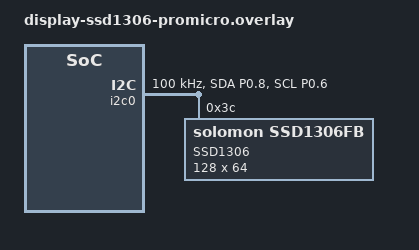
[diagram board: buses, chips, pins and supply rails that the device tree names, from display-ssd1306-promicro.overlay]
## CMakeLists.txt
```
#
# Copyright (c) 2020 Nordic Semiconductor ASA
#
# SPDX-License-Identifier: LicenseRef-Nordic-5-Clause
#

cmake_minimum_required(VERSION 3.20.0)

find_package(Zephyr REQUIRED HINTS $ENV{ZEPHYR_BASE})

project(coap_loki)

FILE(GLOB app_sources src/*.c src/displays/*.c src/motors/.c)
FILE(GLOB motor_sources drivers/motor/*.c)



# NORDIC SDK APP START
target_sources(app PRIVATE ${app_sources})

target_include_directories(app PRIVATE interface interface/generated include src/motors)
# NORDIC SDK APP END

target_sources(app PRIVATE ${motor_sources})

target_include_directories(app PRIVATE 
    drivers/motor
)

# -------- Firmware version (MANUAL) --------
set(APP_VERSION_MAJOR 1)
set(APP_VERSION_MINOR 4)
set(APP_VERSION_PATCH 2)

# -------- Build number (AUTO) --------
string(TIMESTAMP APP_BUILD_NUMBER "%Y%m%d%H%M%S" UTC)

configure_file(
  ${CMAKE_CURRENT_SOURCE_DIR}/app_version.h.in
  ${CMAKE_CURRENT_BINARY_DIR}/app_version.h
  @ONLY
)

target_include_directories(app PRIVATE ${CMAKE_CURRENT_BINARY_DIR})

# -------- Interface descriptor codegen --------
# Regenerates interface/generated/loki_{gatt,coap}.h from the YAML sources at
# every full build. If Python 3.8+ is missing the regeneration is skipped with
# a warning; the checked-in generated headers are then used as-is. The script
# itself also skips (warn + exit 0) if PyYAML is unavailable.
find_package(Python3 3.8 COMPONENTS Interpreter QUIET)

set(LOKI_GEN_SCRIPT   ${CMAKE_CURRENT_SOURCE_DIR}/tools/gen_descriptors.py)
set(LOKI_GEN_GATT     ${CMAKE_CURRENT_SOURCE_DIR}/interface/gatt.yaml)
set(LOKI_GEN_COAP     ${CMAKE_CURRENT_SOURCE_DIR}/interface/coap.yaml)
set(LOKI_GEN_OUT_DIR  ${CMAKE_CURRENT_SOURCE_DIR}/interface/generated)
set(LOKI_GEN_OUTPUTS
    ${LOKI_GEN_OUT_DIR}/loki_gatt.h
    ${LOKI_GEN_OUT_DIR}/loki_coap.h
)

if(Python3_Interpreter_FOUND)
    add_custom_command(
        OUTPUT  ${LOKI_GEN_OUTPUTS}
        COMMAND ${Python3_EXECUTABLE} ${LOKI_GEN_SCRIPT}
                --gatt    ${LOKI_GEN_GATT}
                --coap    ${LOKI_GEN_COAP}
                --out-dir ${LOKI_GEN_OUT_DIR}
        DEPENDS ${LOKI_GEN_SCRIPT} ${LOKI_GEN_GATT} ${LOKI_GEN_COAP}
        COMMENT "Regenerating Loki interface descriptors from YAML"
        VERBATIM
    )
    add_custom_target(loki_gen_descriptors ALL DEPENDS ${LOKI_GEN_OUTPUTS})
    add_dependencies(app loki_gen_descriptors)
else()
    message(WARNING
        "Python 3.8+ not found. Loki interface descriptor regeneration is "
        "disabled; the checked-in headers under interface/generated/ will be "
        "used as-is. Install Python 3.8+ and PyYAML to enable codegen.")
endif()
```

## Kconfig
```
#
# Copyright (c) 2020 Nordic Semiconductor ASA
#
# SPDX-License-Identifier: LicenseRef-Nordic-5-Clause
#

menu "Zephyr Kernel"
source "Kconfig.zephyr"
endmenu

menu "Motor Driver Support"
rsource "drivers/motor/Kconfig"
endmenu


module = COAP_SERVER
module-str = CoAP server
source "${ZEPHYR_BASE}/subsys/logging/Kconfig.template.log_config"

module = OT_COAP_UTILS
module-str = OpenThread CoAP utils
source "${ZEPHYR_BASE}/subsys/logging/Kconfig.template.log_config"

module = DISPLAY_LVGL
module-str = Display LVGL and others
source "${ZEPHYR_BASE}/subsys/logging/Kconfig.template.log_config"

config LOKI_MOTOR1PIN
	int "Pin for Motor controller IN1."
	default 13
	range 0 31

config LOKI_MOTOR2PIN
	int "Pin for Motor controller IN2."
	default 15
	range 0 31

config LOKI_MOTOR0PIN
	int "Spare pin for Motor controller."
	default 14
	range 0 31

config LVGL_DISPLAY_UPDATE_PERIOD_MS
	int "Display update period in milliseconds"
	default 0
	range 0 10000
	help
	  This option sets the period for updating the display in milliseconds.
	  A lower value will result in more frequent updates, while a higher value
	  will reduce the update frequency.

menu "Loki settings storage"

config LOKI_CLEAR_SETTINGS_NEW_VERSION
	bool "Wipe NVS settings when firmware MAJOR.MINOR changes"
	default y
	help
	  When enabled, init_and_optionally_clear_nvs() calls nvs_clear() on
	  the chosen `zephyr,storage` partition if the firmware's MAJOR.MINOR
	  SemVer differs from the value stored in flash. This deletes every
	  record in that partition, including BLE bonds, Thread network data,
	  and the loki/* keys — i.e. it is a factory reset gated on
	  version bumps.

	  Useful while the settings schema is in flux during development.
	  Turn off once the schema is stable so that user-set names, DCC
	  addresses, and joined Thread networks survive firmware upgrades.

config LOKI_CLEAR_SETTINGS_NEW_BUILD
	bool "Wipe NVS settings on every new build number"
	default n
	help
	  Wipes the settings partition whenever APP_BUILD_NUMBER (an embedded
	  build timestamp) differs from the value stored in flash. Effectively
	  a factory reset on every flash. Convenient during heavy iteration;
	  rarely what you want in a shipped firmware.

endmenu

menu "BLE advertising lifecycle"

config LOKI_BLE_OFF_AFTER_ATTACH_MINUTES
	int "Minutes to keep BLE advertising after a successful Thread attach"
	default 5
	range 0 1440
	help
	  After the loco successfully attaches to a Thread network (role becomes
	  CHILD, ROUTER or LEADER), BLE advertising is stopped after this many
	  minutes. If the Thread role goes back to DETACHED/DISABLED before then,
	  the pending stop is cancelled and advertising continues. Set to 0 to
	  disable the feature entirely (BLE advertising stays on indefinitely).
	  A CoAP PUT to /ble-recovery resumes advertising for another window of
	  the same length.

config LOKI_BLE_RECOVERY_ON_SRP_FAIL
	bool "Reopen BLE window automatically when SRP registration fails"
	default y
	help
	  When enabled, every site that detects an SRP/DNS-SD registration
	  failure — host-name set, auto-host-address mode, or any individual
	  service allocation (short-name, long-name, DCC) — calls
	  ble_lifecycle_force_recovery() to reopen the advertising window for
	  CONFIG_LOKI_BLE_OFF_AFTER_ATTACH_MINUTES. The loco then stays
	  reachable over GATT even while DNS-SD discovery is broken.

	  Turn off to treat SRP outages silently and rely on the natural Thread
	  detach path or the manual /ble-recovery CoAP endpoint to reopen BLE
	  on demand. The /ble-recovery endpoint itself is NOT gated by this
	  option — it always works regardless.

endmenu
```

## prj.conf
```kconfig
#
# Copyright (c) 2020 Nordic Semiconductor
#
# SPDX-License-Identifier: LicenseRef-Nordic-5-Clause
#

# nRF board library
CONFIG_DK_LIBRARY=y

# Enable OpenThread CoAP support API
CONFIG_OPENTHREAD_COAP=y

# Network shell
CONFIG_SHELL=y
CONFIG_OPENTHREAD_SHELL=y
CONFIG_SHELL_ARGC_MAX=26
CONFIG_SHELL_CMD_BUFF_SIZE=416
CONFIG_MAIN_STACK_SIZE=8192

# Network sockets
CONFIG_NET_SOCKETS=y
CONFIG_NET_SOCKETS_POLL_MAX=4

# Same network Master Key for client and server
# CONFIG_OPENTHREAD_NETWORKKEY="ff:11:22:33:44:55:66:77:88:99:aa:bb:cc:dd:ee:00"

# CONFIG_HWINFO=y
CONFIG_HWINFO_NRF=y

# L2 OpenThread enabling
CONFIG_NET_L2_OPENTHREAD=y
CONFIG_OPENTHREAD_COAP=y
CONFIG_OPENTHREAD_SOURCES=n
CONFIG_OPENTHREAD_CUSTOM_PARAMETERS="OPENTHREAD_CONFIG_ALLOW_EMPTY_NETWORK_NAME=1  OPENTHREAD_CONFIG_SRP_CLIENT_BUFFERS_MAX_SERVICES=4"

CONFIG_SYSTEM_WORKQUEUE_STACK_SIZE=2048
# ot_radio_workq
#CONFIG_OPENTHREAD_RADIO_WORK_STACK_SIZE=1024
# MPSL Work Queue
CONFIG_MPSL_WORK_STACK_SIZE=4096

CONFIG_MPSL_DYNAMIC_INTERRUPTS=y
# CONFIG_ESB_DYNAMIC_INTERRUPTS=y
CONFIG_DYNAMIC_INTERRUPTS=y
CONFIG_DYNAMIC_DIRECT_INTERRUPTS=y


# Generic networking options
CONFIG_NETWORKING=y

CONFIG_MBEDTLS_SHA1_C=n
CONFIG_FPU=y

CONFIG_PWM=y

CONFIG_DC_MOTOR=y
```

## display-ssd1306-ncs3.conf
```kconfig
# Configure LVGL and display settings for the nRF52840 with SSD1306 display
# Route LVGL allocations through the libc heap instead of a dedicated static pool.
# When no display is detected at boot, lvgl_init() bails out before lv_init() and
# no allocations are made, leaving the memory free for other code.
CONFIG_LV_Z_MEM_POOL_HEAP_LIB_C=y
CONFIG_LV_Z_SHELL=y

CONFIG_I2C=y
CONFIG_I2C_NRFX=y
CONFIG_LOG=y

CONFIG_DISPLAY=y
CONFIG_DISPLAY_LOG_LEVEL_ERR=y

CONFIG_SSD1306=y
CONFIG_LVGL=y

CONFIG_LV_CONF_MINIMAL=y
CONFIG_LV_USE_LOG=y
CONFIG_LV_USE_LABEL=y


CONFIG_LV_FONT_MONTSERRAT_14=y

CONFIG_LV_Z_BITS_PER_PIXEL=1
CONFIG_APP_LINK_WITH_LVGL=y

CONFIG_LOG=y
CONFIG_SHELL=y

CONFIG_LVGL=y
CONFIG_LV_USE_LOG=y
CONFIG_LV_USE_LABEL=y                                                                                                                                                                                         
CONFIG_LV_USE_ARC=y
CONFIG_LV_USE_MONKEY=y
CONFIG_LV_FONT_MONTSERRAT_14=y
CONFIG_LV_FONT_UNSCII_8=y

# One of these three is crucial for the display to work
CONFIG_LV_USE_THEME_DEFAULT=y
CONFIG_LV_Z_VDB_SIZE=64
# monochrome display
CONFIG_LV_COLOR_DEPTH_1=y


# Drives lv_task_handler() from the dedicated animate_ip_scroll thread
# (see src/displays/1306_display.c). Must be > 0 — value 0 selects a
# sysworkq-based path that overflows the 2 KB system workqueue stack.
CONFIG_LVGL_DISPLAY_UPDATE_PERIOD_MS=10

CONFIG_I2C_SHELL=ymm 
```

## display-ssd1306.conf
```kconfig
# Configure LVGL and display settings for the nRF52840 with SSD1306 display
# Route LVGL allocations through the libc heap instead of a dedicated static pool.
# When no display is detected at boot, lvgl_init() bails out before lv_init() and
# no allocations are made, leaving the memory free for other code.
CONFIG_LV_Z_MEM_POOL_HEAP_LIB_C=y


CONFIG_I2C=y
CONFIG_I2C_NRFX=y
CONFIG_LOG=y

CONFIG_DISPLAY=y
CONFIG_DISPLAY_LOG_LEVEL_ERR=y

CONFIG_SSD1306=y
CONFIG_LVGL=y

CONFIG_LV_CONF_MINIMAL=y
CONFIG_LV_USE_LOG=y
CONFIG_LV_USE_LABEL=y
CONFIG_LV_USE_BTN=y
CONFIG_LV_USE_IMG=y
CONFIG_LV_FONT_MONTSERRAT_14=y

CONFIG_LV_Z_BITS_PER_PIXEL=1
CONFIG_APP_LINK_WITH_LVGL=y

CONFIG_LOG=y
CONFIG_SHELL=n
CONFIG_LV_Z_SHELL=n
CONFIG_I2C_SHELL=n

CONFIG_LVGL=y
CONFIG_LV_USE_LOG=y
CONFIG_LV_USE_LABEL=y                                                                                                                                                                                         
CONFIG_LV_USE_BTN=y
CONFIG_LV_USE_ARC=y
CONFIG_LV_USE_IMG=y
CONFIG_LV_USE_MONKEY=y
CONFIG_LV_FONT_MONTSERRAT_14=y
CONFIG_LV_FONT_UNSCII_8=y

# One of these three is crucial for t he display to work
CONFIG_LV_USE_THEME_DEFAULT=y
CONFIG_LV_Z_VDB_SIZE=64
# monochrome display
CONFIG_LV_COLOR_DEPTH_1=y


# Drives lv_task_handler() from the dedicated animate_ip_scroll thread
# (see src/displays/1306_display.c). Must be > 0 — value 0 selects a
# sysworkq-based path that overflows the 2 KB system workqueue stack.
CONFIG_LVGL_DISPLAY_UPDATE_PERIOD_MS=10
```

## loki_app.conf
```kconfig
# makes no sense if UART is desibled
# CONFIG_UART_INTERRUPT_DRIVEN=y
CONFIG_RING_BUFFER=y
CONFIG_PWM=y

# Motor driver used by DT alias motor0 (/motor_driver)
CONFIG_DC_MOTOR=y


# Increased stack due to settings API usage
CONFIG_SYSTEM_WORKQUEUE_STACK_SIZE=2048
# from mesh sample
CONFIG_BT_SETTINGS=y

CONFIG_BT=y
CONFIG_LOG=y
CONFIG_BT_SMP=y
# deprecated
# CONFIG_BT_SIGNING=y

CONFIG_BT_PERIPHERAL=y

# Device Information Service (0x180A). The strings below are what generic BLE
# debuggers (nRF Connect, BlueZ, LightBlue) render above the custom
# fcbd0001-… service, so a human reading the device card immediately knows
# what they're looking at even though the custom service UUID itself is
# opaque to any tool without a local UUID mapping.
#
# CONFIG_BT_DIS_SETTINGS lets the application override the static strings at
# boot via settings_runtime_set("bt/dis/<key>", str, strlen(str)) — that's
# what main.c does for FW/SW revisions, sourcing them from APP_VERSION_* so
# the value shown in a debugger tracks the actual firmware build.
#
# Note: this NCS (3.2.x) has no CONFIG_BT_DIS_STR_USER. CONFIG_BT_DIS_SETTINGS
# is the equivalent — same outcome (runtime-mutable DIS strings), different
# mechanism (Zephyr settings subsystem rather than a dedicated bt_dis_set_str
# API). It depends on CONFIG_SETTINGS=y which is already enabled above.
CONFIG_BT_DIS=y
CONFIG_BT_DIS_SETTINGS=y
CONFIG_BT_DIS_MANUF_NAME=y
CONFIG_BT_DIS_MANUF_NAME_STR="Loki"
CONFIG_BT_DIS_MODEL_NUMBER=y
CONFIG_BT_DIS_MODEL_NUMBER_STR="Locomotive Control"
CONFIG_BT_DIS_FW_REV=y
CONFIG_BT_DIS_FW_REV_STR="dev"           # overwritten at boot from APP_VERSION
CONFIG_BT_DIS_SW_REV=y
CONFIG_BT_DIS_SW_REV_STR="dev"           # overwritten at boot from APP_VERSION
# CONFIG_BT_DIS_HW_REV / _STR intentionally not set — the firmware targets
# multiple boards (52dk, custom, dongle, promicro) so HW revision should
# come from a board-specific overlay if it matters.

CONFIG_BT_ATT_PREPARE_COUNT=5
CONFIG_BT_BAS=y
# from samples/bluetooth/peripheral/
CONFIG_BT_PRIVACY=y
CONFIG_BT_DEVICE_NAME="Zephyr Peripheral Sample Long Name"
# Experimental: (and therefore throws KConfig Warnings and stops build)
# CONFIG_BT_IAS=y
#CONFIG_BT_DEVICE_APPEARANCE=833
CONFIG_BT_DEVICE_NAME_DYNAMIC=y
CONFIG_BT_DEVICE_NAME_MAX=65
CONFIG_BT_SETTINGS=y
CONFIG_BT_RX_STACK_SIZE=4096
CONFIG_BT_EXT_ADV=n
CONFIG_BT_GATT_SERVICE_CHANGED=y

CONFIG_SETTINGS=y
CONFIG_SETTINGS_RUNTIME=y

CONFIG_DEBUG_OPTIMIZATIONS=y 
CONFIG_BT_KEYS_OVERWRITE_OLDEST=y
CONFIG_FLASH=y
CONFIG_FLASH_PAGE_LAYOUT=y
CONFIG_FLASH_MAP=y
CONFIG_NVS=y

# If MCU hangs on startup in settings_load. Claude recommends:
# CONFIG_FLASH_LOG_LEVEL_DBG=y

# Wipe-on-version-change is enabled by default in Kconfig
# (CONFIG_LOKI_CLEAR_SETTINGS_NEW_VERSION=y). Uncomment below to wipe on
# every new build number too (CONFIG_LOKI_CLEAR_SETTINGS_NEW_BUILD=n by
# default) or to disable the version-change wipe once the settings schema
# is stable.
# CONFIG_LOKI_CLEAR_SETTINGS_NEW_BUILD=y
# CONFIG_LOKI_CLEAR_SETTINGS_NEW_VERSION=n

CONFIG_PINCTRL_DYNAMIC=y
CONFIG_PINCTRL_NRF=y

CONFIG_GPIO=y

# Newlib was previously forced on solely to provide sscanf("%d", …) in the CoAP
# speed handler — that cost ~36 KB of flash for one decimal parse. The handler
# now uses strtoul (minimal-libc / picolibc) and every sprintf has been swapped
# for snprintk / strcpy, so the default Zephyr libc is sufficient.
# CONFIG_NEWLIB_LIBC=y
# CONFIG_NEWLIB_LIBC_NANO=n

CONFIG_LOKI_MOTOR1PIN=9

# To be able to read the same address as on the sticker on the back of the board
CONFIG_HW_ID_LIBRARY=y
CONFIG_HW_ID_LIBRARY_SOURCE_BLE_MAC=y

CONFIG_OPENTHREAD_SRP_CLIENT=y


CONFIG_OPENTHREAD_JOINER=y
CONFIG_OPENTHREAD_SLAAC=y
CONFIG_CPP=y
```

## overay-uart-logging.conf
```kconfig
# Serial console on UART
CONFIG_SERIAL=y
CONFIG_CONSOLE=y
CONFIG_UART_CONSOLE=y

# Zephyr logging
CONFIG_LOG=y
```

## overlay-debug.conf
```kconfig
# Enable asserts
CONFIG_ASSERT=y
CONFIG_ASSERT_NO_COND_INFO=y
CONFIG_INIT_STACKS=y
CONFIG_THREAD_ANALYZER=y
CONFIG_THREAD_ANALYZER_AUTO=y
CONFIG_THREAD_NAME=y
CONFIG_THREAD_ANALYZER_USE_LOG=y
CONFIG_THREAD_ANALYZER_AUTO_INTERVAL=5
#include "<openthread-root>/src/config/misc.h"
CONFIG_CORTEX_M_DEBUG_MONITOR_HOOK=y

# Network shell - disabled to help with space constraints
CONFIG_SHELL=y
CONFIG_OPENTHREAD_SHELL=y
CONFIG_SHELL_ARGC_MAX=26
CONFIG_SHELL_CMD_BUFF_SIZE=416
CONFIG_MAIN_STACK_SIZE=8192

# Extra info for debugging stack overflows and other exceptions
CONFIG_EXCEPTION_STACK_TRACE=y
CONFIG_DEBUG_THREAD_INFO=y
CONFIG_EXTRA_EXCEPTION_INFO=y
```

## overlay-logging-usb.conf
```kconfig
#
# Copyright (c) 2022 Nordic Semiconductor
#
# SPDX-License-Identifier: LicenseRef-Nordic-5-Clause

# Enable net module logging
# CONFIG_NET_LOG=y
# Option for configuring log level in net config library
# CONFIG_NET_CONFIG_LOG_LEVEL_INF=y

# Option for configuring log level in Zephyr L2 logging
# CONFIG_OPENTHREAD_L2_DEBUG=y
# CONFIG_OPENTHREAD_L2_LOG_LEVEL_DBG=y
# CONFIG_OPENTHREAD_L2_DEBUG_DUMP_15_4=y
# CONFIG_OPENTHREAD_L2_DEBUG_DUMP_IPV6=y

# Configure sample logging setting
CONFIG_LOG=y
CONFIG_LOG_PRINTK=y
CONFIG_COAP_SERVER_LOG_LEVEL_DBG=y
CONFIG_OT_COAP_UTILS_LOG_LEVEL_DBG=y
CONFIG_OPENTHREAD_DEBUG=y
CONFIG_OPENTHREAD_L2_DEBUG=y

CONFIG_DISPLAY_LVGL_LOG_LEVEL_DBG=y

# Enable Mbed TLS logging
# CONFIG_OPENTHREAD_MBEDTLS_DEBUG=y
# CONFIG_MBEDTLS_DEBUG_LEVEL=3

# Option for configuring log level in OpenThread
CONFIG_OPENTHREAD_LOG_LEVEL_DEBG=n

CONFIG_MPSL_LOG_LEVEL_DBG=y

# Enable UART over USB logging backend
# Logging
CONFIG_LOG=y
CONFIG_LOG_DEFAULT_LEVEL=3

# # LEgacy USB
# CONFIG_USB_DEVICE_STACK=y
# CONFIG_USB_DEVICE_PRODUCT="nRF52840 CDC ACM"
# CONFIG_USB_CDC_ACM=y

# # Console over USB
# CONFIG_SERIAL=y
# CONFIG_CONSOLE=y
# CONFIG_UART_CONSOLE=y  

# NEXT_USB , apparently default in v3.2 
CONFIG_SERIAL=y
CONFIG_CONSOLE=y
CONFIG_UART_CONSOLE=y
CONFIG_STDOUT_CONSOLE=y
CONFIG_UART_LINE_CTRL=y

CONFIG_USB_DEVICE_STACK_NEXT=y
CONFIG_CDC_ACM_SERIAL_INITIALIZE_AT_BOOT=y
# NCS urges me to set another PID here than the default Nordic one 
CONFIG_CDC_ACM_SERIAL_PID=0x0004
CONFIG_CDC_ACM_SERIAL_PRODUCT_STRING="USBD console sample"


# Logging backend
CONFIG_LOG_BACKEND_UART=y

# Recommended
CONFIG_LOG_MODE_DEFERRED=y
CONFIG_LOG_BUFFER_SIZE=4096

# Optional but useful
CONFIG_PRINTK=y

# Enable UART logging backend
CONFIG_LOG_BACKEND_UART=y
CONFIG_SHELL_LOG_BACKEND=y
```

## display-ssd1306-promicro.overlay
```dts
/ {
    chosen {
        zephyr,display = &ssd1306;
     
    };


    zephyr,user {

    };
};



&pinctrl {
	i2c0_default: i2c0_default {
		group1 {
			psels = <NRF_PSEL(TWIM_SDA, 0, 8)>,
				<NRF_PSEL(TWIM_SCL, 0, 6)>;
            bias-pull-up;
		};
	};

	i2c0_sleep: i2c0_sleep {
		group1 {
			psels = <NRF_PSEL(TWIM_SDA, 0, 8)>,
				<NRF_PSEL(TWIM_SCL, 0, 6)>;
            bias-pull-up;
			low-power-enable;
		};
	};
};

&uart0 {
    status = "disabled";
};

&i2c0 {
	compatible = "nordic,nrf-twim";
	status = "okay";
	clock-frequency = <I2C_BITRATE_STANDARD>;
	pinctrl-0 = <&i2c0_default>;
	pinctrl-1 = <&i2c0_sleep>;
	pinctrl-names = "default", "sleep";

    ssd1306: ssd1306@3c {
        compatible = "solomon,ssd1306fb";
        reg = <0x3c>;
        label = "SSD1306";
        height = <64>; // Change to <64> for 64-pixel height displays
        width  = <128>;
        segment-offset  = <0>;
        page-offset     = <0>;
        display-offset  = <0>;
        multiplex-ratio = <63>;
        prechargep      = <0xD1>;
        segment-remap;
        com-invdir;
        com-sequential;

    };
};
&uart0 {
	status = "disabled";
};
```

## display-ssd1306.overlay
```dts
/ {
    chosen {
        zephyr,display = &ssd1306;
    };


    zephyr,user {

    };
};

&pinctrl {
	i2c0_default: i2c0_default {
		group1 {
			psels = <NRF_PSEL(TWIM_SDA, 0, 8)>,
				<NRF_PSEL(TWIM_SCL, 0, 6)>;
		};
	};

	i2c0_sleep: i2c0_sleep {
		group1 {
			psels = <NRF_PSEL(TWIM_SDA, 0, 8)>,
				<NRF_PSEL(TWIM_SCL, 0, 6)>;
			low-power-enable;
		};
	};
};

&uart0 { status = "disabled"; };

&i2c0 {
    
	compatible = "nordic,nrf-twi";
	status = "okay";
	clock-frequency = <I2C_BITRATE_FAST>;
	pinctrl-0 = <&i2c0_default>;
	pinctrl-1 = <&i2c0_sleep>;
	pinctrl-names = "default", "sleep";

    ssd1306: ssd1306@3c {
        compatible = "solomon,ssd1306fb";
        reg = <0x3c>;
        label = "SSD1306";
        height = <64>;
        width  = <128>;
        segment-offset  = <0>;
        page-offset     = <0>;
        display-offset  = <0>;
        multiplex-ratio = <63>;
        prechargep      = <0xD1>;
        segment-remap;
        com-invdir;
        com-sequential;

    };
};
```

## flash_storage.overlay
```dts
/*
 * Point Zephyr's chosen `zephyr,storage` at the standard NCS settings
 * partition (`storage_partition` in DT — the NCS Partition Manager knows
 * the same physical partition as `settings_storage`). The manual NVS
 * instance in init_and_optionally_clear_nvs() and the Zephyr settings
 * backend (CONFIG_SETTINGS_NVS) then share the same partition, which is
 * the intent: a CONFIG_LOKI_CLEAR_SETTINGS_NEW_VERSION wipe nukes
 * everything (BLE bonds, Thread network data, loki/* keys) in one go.
 *
 * Previously this overlay defined a separate `nvs_storage: partition@f0000`
 * node, but PM never learned that name so FIXED_PARTITION_ID() could not
 * resolve it.
 */

/ {
    chosen {
        zephyr,storage = &storage_partition;
        zephyr,flash   = &flash0;
    };
};
```

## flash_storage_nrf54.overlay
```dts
/ {
    chosen {
        zephyr,storage = &storage_partition;
    };
};
```

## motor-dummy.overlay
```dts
/ {
    aliases {
        motor0 = &motor_null; /* Same alias! App code doesn't change. */
    };

    motor_null: motor_driver_alt {
        /* This selects Driver B implementation */
        compatible = "generic,dummy-motor";
        
        /* Different resource types entirely */

    };
};
```

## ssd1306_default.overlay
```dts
/ {
    chosen {
        zephyr,display = &ssd1306;
    };
};

&pinctrl {
    i2c0_default: i2c0_default {
        group1 {
            psels = <NRF_PSEL(TWIM_SDA, 0, 26)>,
                    <NRF_PSEL(TWIM_SCL, 0, 27)>;
            bias-pull-up;
        };
    };

    i2c0_sleep: i2c0_sleep {
        group1 {
            psels = <NRF_PSEL(TWIM_SDA, 0, 26)>,
                    <NRF_PSEL(TWIM_SCL, 0, 27)>;
            bias-pull-up;
            low-power-enable;
        };
    };
};

&i2c0 {
    status = "okay";
    clock-frequency = <I2C_BITRATE_STANDARD>;
    pinctrl-0 = <&i2c0_default>;
    pinctrl-1 = <&i2c0_sleep>;
    pinctrl-names = "default", "sleep";

    ssd1306: ssd1306@3c {
        compatible = "solomon,ssd1306fb";
        reg = <0x3c>;
        width = <128>;
        height = <64>;
        segment-offset = <0>;
        page-offset = <0>;
        display-offset = <0>;
        multiplex-ratio = <63>;
        prechargep = <0x22>;
        segment-remap;
        com-invdir;
        com-sequential;
        ready-time-ms = <20>;
    };
};
```

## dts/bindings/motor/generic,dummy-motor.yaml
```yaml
description: Dummy Motor Driver (No-op)
compatible: "generic,dummy-motor"
include: base.yaml
```

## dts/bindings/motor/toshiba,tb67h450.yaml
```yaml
description: Toshiba TB67H450 Motor Driver
compatible: "toshiba,tb67h450"
include: base.yaml

properties:
    pwms:
        required: true
        type: phandle-array
        description: Two PWM channels (IN1, IN2)
```

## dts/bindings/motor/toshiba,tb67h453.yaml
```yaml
description: Toshiba TB67H453 Motor Driver
compatible: "toshiba,tb67h453"
include: base.yaml

properties:
    pwms:
        required: true
        type: phandle-array
        description: Two PWM channels (IN1, IN2)
    sleep-gpios:
        required: true
        type: phandle-array
        description: Pin connected to SLEEP (Active High)
```

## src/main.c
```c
/* main.c - Application main entry point */

/*
 * Copyright (c) 2015-2016 Intel Corporation
 *
 * SPDX-License-Identifier: Apache-2.0
 */

#include <zephyr/types.h>
#include <zephyr/toolchain.h>
#include <stddef.h>
#include <string.h>
#include <errno.h>
/* #include <sys/printk.h> 
#include <sys/byteorder.h> */
#include <zephyr/kernel.h>
#include <zephyr/device.h>
#include <zephyr/devicetree.h>
#include <zephyr/drivers/gpio.h>
#include <zephyr/sys/byteorder.h>
#include <zephyr/logging/log.h>

#include <zephyr/bluetooth/bluetooth.h>
#include <zephyr/bluetooth/hci.h>
#include <zephyr/bluetooth/conn.h>
#include <zephyr/bluetooth/uuid.h>
#include <zephyr/bluetooth/gatt.h>
#include <zephyr/bluetooth/services/bas.h>
#include <zephyr/settings/settings.h>
#include <hw_id.h>
#include <zephyr/drivers/hwinfo.h>
#include <openthread/coap.h>

#include <zephyr/drivers/pwm.h>
#include <stdio.h>
#include <stdlib.h>
#include <inttypes.h>

#include <zephyr/net/openthread.h>
#include <openthread.h>           /* openthread_mutex_lock/unlock (the non-deprecated, void-arg API) */
#include <openthread/thread.h>
#include <openthread/srp_client.h>
#include <openthread/srp_client_buffers.h>


#include "main_ble_utils.h"
#include "loki_coap_utils.h"
#include "main_ot_utils.h"
#include "main_loki.h"

#include "displays/main_display.h"

#include "motors/motor.h"
// BEGIN Settings and conditional NVM initialization related imports
#ifdef CONFIG_NVS
#include <zephyr/fs/nvs.h>
#elif defined(CONFIG_ZMS)
#include <zephyr/fs/zms.h>
#else
#error "Either CONFIG_NVS or CONFIG_ZMS must be enabled"
#endif
#include <zephyr/storage/flash_map.h>
#include <zephyr/kernel.h>
#include <zephyr/sys/util.h>
#include <zephyr/settings/settings.h>

#include "app_version.h"

/* The project's app_version.h (generated by Zephyr from the VERSION file)
 * only exposes the numeric components; synthesise a dotted "MAJOR.MINOR.PATCH"
 * string for code that needs one — currently the DIS Firmware/Software
 * Revision runtime override below. */
#define LOKI_VER_STR_(x)  #x
#define LOKI_VER_XSTR_(x) LOKI_VER_STR_(x)
#define LOKI_APP_VERSION_STRING                          \
    LOKI_VER_XSTR_(APP_VERSION_MAJOR) "."                \
    LOKI_VER_XSTR_(APP_VERSION_MINOR) "."                \
    LOKI_VER_XSTR_(APP_VERSION_PATCH)
// END Settings and NVM related imports

#if defined(CONFIG_LVGL) && defined(CONFIG_DISPLAY)
#include <zephyr/device.h>
#include <zephyr/devicetree.h>
#include <zephyr/drivers/display.h>
#include <zephyr/drivers/gpio.h>
#include <lvgl.h>
#include <stdio.h>
#include <string.h>
#include <zephyr/kernel.h>
#include <lvgl_input_device.h>
// Start Display related includes
#ifdef CONFIG_SSD1306
	//#include "displays/1306_display.c"
#endif


// End Display related includes
#endif

/*
 * Devicetree helper macro which gets the 'flags' cell from a 'gpios'
 * property, or returns 0 if the property has no 'flags' cell.
 */
#define FLAGS_OR_ZERO(node)						\
	COND_CODE_1(DT_PHA_HAS_CELL(node, gpios, flags),		\
		    (DT_GPIO_FLAGS(node, gpios)),			\
		    (0))




LOG_MODULE_REGISTER(loki_main, CONFIG_COAP_SERVER_LOG_LEVEL);

// BEGIN Settings and conditional NVM initialization related code. To be moved to separate file when stable
#define NVS_KEY_VERSION   0x10
#define NVS_KEY_BUILD     0x11

struct app_version {
    uint8_t major;
    uint8_t minor;
    uint8_t patch;
};

#ifdef CONFIG_NVS
/* Only referenced from init_and_optionally_clear_nvs(), which is itself
 * gated on LOKI_HAS_NVS_STORAGE (CONFIG_NVS + chosen zephyr,storage). On
 * builds without NVS this would be a -Wunused-function warning. */
static bool semver_major_minor_changed(const struct app_version *a,
                                       const struct app_version *b)
{
    return (a->major != b->major) || (a->minor != b->minor);
}
#endif

#ifdef CONFIG_NVS
static struct nvs_fs nvs;
#endif
// END SEttings and NVM

uint8_t speed_notify_enabled = 0;
bool is_display_enabled = false;

void notify_motion_change()
{
		// Notify if Notifications are enabled
	if (speed_notify_enabled) {
		LOG_DBG("Sending Speed Notifications to GATT Client\n");
		/* original demo code:
				bt_gatt_notify(NULL, &simple_service.attrs[1], &button_1_value,
			       sizeof(button_1_value));
		*/
		// TODO: evaluate ret value, print error , if any

		bt_notify_speed();
	}
	if (is_display_enabled) {
		char buffer[3];
		/* Bitwise tests on the direction bit-pattern: bit 0 = forward,
		 * bit 1 = reverse. Was previously '&&' (logical AND with a
		 * constant), making the reverse branch unreachable whenever
		 * direction_pattern was non-zero. */
		if (direction_pattern & 1) {
			strcpy(buffer, " >");
		} else if (direction_pattern & 2) {
			strcpy(buffer, "< ");
		} else
		 {
			strcpy(buffer, "--");
		}
		LOG_DBG("Sending Speed Notifications %s %d to Display\n",buffer, speed_value);
		display_updateDirectionAndSpeed(direction_pattern, speed_value);
	}

}


void stop_motor()
{
	change_speed_directly(0);
}

#if defined(CONFIG_NVS) && DT_HAS_CHOSEN(zephyr_storage)
#define LOKI_HAS_NVS_STORAGE 1
#define STORAGE_NODE DT_CHOSEN(zephyr_storage)

BUILD_ASSERT(
	DT_REG_SIZE(STORAGE_NODE) >= 0x4000,
	"zephyr,storage partition too small"
);
#else
#define LOKI_HAS_NVS_STORAGE 0
#endif

/* ---- NVS ---- */

int init_and_optionally_clear_nvs(void)
{
#if !LOKI_HAS_NVS_STORAGE
	LOG_WRN("NVS init skipped: missing CONFIG_NVS or chosen zephyr,storage");
	return 0;
#else
    const struct flash_area *fa;
    int err;

    struct app_version current_ver = {
        .major = APP_VERSION_MAJOR,
        .minor = APP_VERSION_MINOR,
        .patch = APP_VERSION_PATCH,
    };

    struct app_version stored_ver = {0};
	uint64_t stored_build = 0;
	uint64_t current_build = APP_BUILD_NUMBER;

    bool clear = false;

    /* Open NVS flash area. Address the partition by its PM name
     * (`settings_storage`) rather than via DT_CHOSEN — the NCS Partition
     * Manager redefines FIXED_PARTITION_ID() to do PM_##label##_ID and
     * does not pre-expand its argument, so a DT_CHOSEN node-id token
     * would produce an undefined symbol. PM defines PM_settings_storage_ID
     * for both the nRF52 and nRF54L builds. See TODO/05 or the discussion
     * in INTERFACES.md for the deciding-bit analysis. */
	err = flash_area_open(FIXED_PARTITION_ID(settings_storage), &fa);
    if (err) {
        return err;
    }

    /* Configure NVS filesystem */
    nvs.flash_device = fa->fa_dev;
    nvs.offset = fa->fa_off;
    nvs.sector_size = fa->fa_size / 4;
    nvs.sector_count = 4;

#if defined(CONFIG_NVS)
    err = nvs_mount(&nvs);
#elif defined(CONFIG_ZMS)
    err = zms_mount(&nvs);
#endif
    if (err) {
        flash_area_close(fa);
        return err;
    }

    /* Read stored values (absence is OK) */
#if defined(CONFIG_NVS)
    err = nvs_read(&nvs, NVS_KEY_VERSION,
                   &stored_ver, sizeof(stored_ver));
#elif defined(CONFIG_ZMS)
    err = zms_read(&nvs, NVS_KEY_VERSION,
                   &stored_ver, sizeof(stored_ver));
#endif
    if (err < 0) {
        stored_ver = (struct app_version){0};
    }

#if defined(CONFIG_NVS)
    err = nvs_read(&nvs, NVS_KEY_BUILD,
                   &stored_build, sizeof(stored_build));
#elif defined(CONFIG_ZMS)
    err = zms_read(&nvs, NVS_KEY_BUILD,
                   &stored_build, sizeof(stored_build));
#endif
    if (err < 0) {
        stored_build = 0;
    }

    /* Version-based wipe (SemVer MAJOR.MINOR only).
     * Gate: CONFIG_LOKI_CLEAR_SETTINGS_NEW_VERSION (default y). */
    if (IS_ENABLED(CONFIG_LOKI_CLEAR_SETTINGS_NEW_VERSION) &&
        semver_major_minor_changed(&stored_ver, &current_ver)) {

		 printk("Version change %u.%u -> %u.%u\n",
               stored_ver.major, stored_ver.minor,
               current_ver.major, current_ver.minor);
        clear = true;
    }

    /* Build-based wipe.
     * Gate: CONFIG_LOKI_CLEAR_SETTINGS_NEW_BUILD (default n). */
    if (IS_ENABLED(CONFIG_LOKI_CLEAR_SETTINGS_NEW_BUILD) &&
        stored_build != current_build) {

		 printk("Build change %" PRIu64 " -> %" PRIu64 "\n",
               stored_build, current_build);
        clear = true;
    }

    /* Clear storage if required */
    if (clear) {
#if defined(CONFIG_NVS)
        err = nvs_clear(&nvs);
#elif defined(CONFIG_ZMS)
        err = zms_clear(&nvs);
#endif
        if (err) {
            flash_area_close(fa);
            return err;
        }
    }

    /* Always store current version & build */
#if defined(CONFIG_NVS)
    nvs_write(&nvs, NVS_KEY_VERSION,
              &current_ver, sizeof(current_ver));
    nvs_write(&nvs, NVS_KEY_BUILD,
              &current_build, sizeof(current_build));
#elif defined(CONFIG_ZMS)
    zms_write(&nvs, NVS_KEY_VERSION,
              &current_ver, sizeof(current_ver));
    zms_write(&nvs, NVS_KEY_BUILD,
              &current_build, sizeof(current_build));
#endif

    flash_area_close(fa);
    return 0;
#endif
}

void init_default_values()
{
	speed_value = 0;
	accel_order = 0;
	direction_pattern = 0;
	speed_notify_enabled = 0;
	change_pwm_base(1000);

	dcc_address = 0;
}

void init_default_name()
{
	int id_len;
	int EUI64_LEN = 8;
	uint8_t eui64buf[EUI64_LEN];
	// certainly depends on CONFIG_HWINFO_NRF (or other if other device is chosen) in prj.conf
	id_len = hwinfo_get_device_id(eui64buf, EUI64_LEN);
	if (id_len < 0) {
		LOG_ERR("Failed to get EUI64 from HWINFO (err %d)\n", id_len);
		return;
	}
	int id_str_len = id_len*2;
	// convert eui64 to hex string
	char buf[id_str_len+1];
	for (int i = 0; i < id_len; i++) {
		snprintk(buf + i * 2, 3, "%02X", eui64buf[i]);
	}
	LOG_INF("EUI64_ID: %s\n",buf);


	// Set the default name

    // Copy "LOKI"/"TREN" etc to ble_name
	char default_name[] = DEFAULT_NAME_PREFIX;
    strcpy(ble_name, default_name);

	int start_indx = 0;
	if (strlen(ble_name) + id_str_len > MAX_LEN_BLE_NAME) {
		start_indx = id_str_len - (MAX_LEN_BLE_NAME - strlen(ble_name));
	}
    // Concatenate the last 4 characters from buf to ble_name
    strncat(ble_name, &buf[start_indx], id_str_len - start_indx);

    // Ensure null termination
    ble_name[strlen(ble_name)] = '\0';

	strcpy(full_name,ble_name);
	
}

void display_start(void)
{
	if (is_display_enabled) {
		char buffer[3];
		/* Bitwise tests on the direction bit-pattern: bit 0 = forward,
		 * bit 1 = reverse. Was previously '&&' (logical AND with a
		 * constant), making the reverse branch unreachable whenever
		 * direction_pattern was non-zero. */
		if (direction_pattern & 1) {
			strcpy(buffer, " >");
		} else if (direction_pattern & 2) {
			strcpy(buffer, "< ");
		} else
		 {
			strcpy(buffer, "--");
		}
		display_updateDirectionAndSpeed(direction_pattern, speed_value);
		display_updateIPv6Address(NULL);
	}
}




void settings_handle_commit(void){
	LOG_INF("Settings<LOKI> loaded\n");
}

// handler for settings that start with "loki/"
int loki_settings_handle_set(const char *name, size_t len_rd, settings_read_cb read_cb,
			void *cb_arg)
{
	if (!name) {
		return -EINVAL;
	}

	if (!strcmp(name, "shortname")) {
		ssize_t len = read_cb(cb_arg, &ble_name, sizeof(ble_name));
		if (len < 0) {
			LOG_ERR("Failed to read shortname from storage (err %zd)\n", len);
			return len;
		}
		ble_name[len] = '\0';
	} else if (!strcmp(name, "longname")) {
		ssize_t len = read_cb(cb_arg, &full_name, sizeof(full_name));
		if (len < 0) {
			LOG_ERR("Failed to read longname from storage (err %zd)\n", len);
			return len;
		}
		full_name[len] = '\0';
	} else if (!strcmp(name, "dcc")) {
		ssize_t len = read_cb(cb_arg, &dcc_address, sizeof(dcc_address));
		if (len < 0) {
			LOG_ERR("Failed to read dcc from storage (err %zd)\n", len);
			return len;
		}
	} else {
		LOG_ERR("Unknown setting: %s\n", name);
		return -ENOENT;
	}
	LOG_INF("Setting<LOKI> %s loaded\n", name);
	return 0;
}

// Flag to check if settings have ever been initialized
static bool settings_initialized_flag = false;
// Callback to load the settings_initialized_flag in a blocking manner from storage. Fails(is not called) if settings_initialized_flag is not found in storage
int settings_initialized_flag_loader_direct_cb(const char *key, size_t len, settings_read_cb read_cb, void *cb_arg, void *param){
	if (!strcmp(key, "loki/init")) {
		ssize_t len = read_cb(cb_arg, &settings_initialized_flag, sizeof(settings_initialized_flag));
		if (len < 0) {
			LOG_ERR("Failed to read settings_initialized_flag from storage (err %zd)\n", len);
			return len;
		}
		settings_initialized_flag = true;
	}
	return 0;
}

// Callback to export the settings to storage
int settings_handle_export(int (*cb)(const char *name,
			       const void *value, size_t val_len))
{	
	(void)cb("loki/shortname", &ble_name, sizeof(ble_name));
	(void)cb("loki/longname", &full_name, sizeof(full_name));
	(void)cb("loki/dcc", &dcc_address, sizeof(dcc_address));
	(void)cb("loki/init", &settings_initialized_flag, sizeof(bool));
	return 0;
}

struct settings_handler loki_settings_handler = {
	.name = DEFAULT_NAME_PREFIX,
	.h_set = loki_settings_handle_set,
//	.h_commit = settings_handle_commit,
	.h_export = settings_handle_export
};

void load_settings_from_nvm()
{
	int rc;
	// Load the settings from the flash
	rc = settings_subsys_init();
	if (rc) {
		LOG_ERR("settings subsys initialization: fail (err %d)\n", rc);
		return;
	}

	LOG_INF("settings subsys initialization: OK.\n");

	rc = settings_register(&loki_settings_handler);
	if (rc) {
		LOG_ERR("settings_register: fail (err %d)\n", rc);
		return;
	}
	rc = settings_load_subtree_direct("loki/init", settings_initialized_flag_loader_direct_cb, NULL);
	if (rc) {
		LOG_ERR("Check if App settings have ever been initialized: settings_load_subtree_direct: failed (err %d)\n", rc);
		return;
	}
	if (!settings_initialized_flag) {
		LOG_INF("Settings have never been initialized, setting defaults\n");
		init_default_name();
		rc = settings_save_subtree("loki");
		if (rc) {
			LOG_ERR("Error saving settings to NVM: %d\n", rc);
		} else {
			LOG_INF("Saved settings to NVM\n");
		}
		settings_initialized_flag = true;
		rc = settings_save_subtree("loki/init");
		if (rc) {
			LOG_ERR("Error saving first initialization flag settings_initialized_flag to NVM: %d\n", rc);
		} else {
			LOG_INF("Saved settings_initialized_flag to NVM\n");
		}
	} else {
		LOG_INF("Settings have been initialized\n");
	}
}


void *de_register_service( otSrpClientService service){
	otError error;
	otInstance *p_instance = openthread_get_default_instance();
	error = otSrpClientRemoveService(p_instance, &service);
	if (error != OT_ERROR_NONE) {
		LOG_ERR("Cannot remove service: %s", otThreadErrorToString(error));
		return NULL;
	}
	return NULL;
}

void modify_full_name(const char *buf, uint16_t len)
{
	if (strncmp(buf, full_name, len) == 0) {
		return;
	} else {
		/* `buf` is the raw GATT/CoAP write payload — NOT NUL-terminated.
		 * Use %.*s + the explicit length so the print can't walk past it
		 * and dump adjacent memory (which is exactly what made name
		 * changes look "confused" in the log). */
		LOG_INF("Changing full name to %.*s", (int)len, buf);
		re_register_coap_service(openthread_get_default_instance(), &long_name_coap_service, buf, SRP_LONGNAME_SERVICE);
	}

	if (len < MAX_LEN_FULL_NAME) {
		strncpy(full_name, buf, len);
		full_name[len] = '\0';
	} else {
		strncpy(full_name, buf, MAX_LEN_FULL_NAME);
		full_name[MAX_LEN_FULL_NAME] = '\0';
	}

	/* Persist before pushing to the BLE stack — matches modify_short_name
	 * order, and keeps the NVS value consistent with whatever the BLE
	 * client sees on a subsequent read. */
	int ret = settings_save_subtree("loki/longname");
	if (ret) {
		LOG_ERR("Error saving longname setting to NVM: %d\n", ret);
	} else {
		LOG_INF("Saved long name to NVM: %s\n", full_name);
	}

	updateBleLongName(full_name);
}

int modify_short_name(const char *buf, uint16_t len)
{
	if (strncmp(buf, ble_name, len) == 0) {
		return 0;
	} else {
		/* `buf` is the raw GATT write payload — NOT NUL-terminated. Use
		 * %.*s with the explicit length to bound the print. */
		LOG_INF("Changing short name to %.*s", (int)len, buf);
		re_register_coap_service(openthread_get_default_instance(), &short_name_coap_service, buf, SRP_SHORTNAME_SERVICE);
	}

	if (len <= MAX_LEN_BLE_NAME) {
		memcpy(&ble_name, buf, len);
		ble_name[len] = '\0';
	} else {
		memcpy(&ble_name, buf, MAX_LEN_BLE_NAME);
		ble_name[MAX_LEN_BLE_NAME] = '\0';
	}
	int ret = settings_save_subtree("loki/shortname");
	if (ret) {
		LOG_ERR("Error saving shortname setting to NVM: %d\n", ret);
	} else {
		LOG_INF("Saved short name to NVM: %s\n", ble_name);
	}

	/* Refresh the on-device display. boot path calls display_updateName
	 * once at startup (main.c:722); without this line a rename via BLE
	 * persists and reaches the BLE controller but the LVGL screen keeps
	 * showing the old name until the next reboot. The no-display build
	 * variant has a stub at displays/no_display.c. */
	display_updateName(ble_name);

	/* updateBleShortName submits the advertising-data refresh work, so
	 * the new short name reaches the controller on the next advertising
	 * interval — no disconnect required. */
	return updateBleShortName(ble_name);
}




void init_display(void)
{
#if defined(CONFIG_LVGL) && defined(CONFIG_DISPLAY)
	is_display_enabled = true;
 	display_initDisplay();
	 display_start();
#endif
}



int main(void)
{
	int err;



	LOG_INF("%s","Startup Information:\n");
	if (loki_motor_init() != 0 ) {
		LOG_ERR("Motor init failed\n");
		return -1;
	}

	init_and_optionally_clear_nvs();
	init_default_values();


	init_display();
	display_updateConnectionStatus("Initializing...");
	err = bt_enable(NULL);
	if (err) {
		LOG_ERR("Bluetooth enable failed (err %d)\n", err);
		return -2;
	}
	if (IS_ENABLED(CONFIG_SETTINGS)) {
		load_settings_from_nvm();
		err = settings_load();
			if (err) {
			LOG_WRN("Bluetooth and other settings load failed (err %d)\n", err);
			display_updateConnectionStatus("Settings load failed");
			return -3;
		}
	}

#if defined(CONFIG_BT_DIS_SETTINGS)
	/* Override the static CONFIG_BT_DIS_FW_REV_STR / _SW_REV_STR defaults
	 * with the live build version. Done *after* settings_load() so we win
	 * over any stale value persisted in NVS from an earlier build; not
	 * itself persisted (no settings_save_one) so the next boot recomputes
	 * from APP_VERSION_* again. NCS 3.2 has no CONFIG_BT_DIS_STR_USER /
	 * bt_dis_set_str(); CONFIG_BT_DIS_SETTINGS + settings_runtime_set is
	 * the equivalent. The DIS subsystem reads "bt/dis/{fw,sw,manuf,model,
	 * serial,hw}" keys via its own settings handler. */
	{
		const char *ver = LOKI_APP_VERSION_STRING;
		const size_t vlen = strlen(ver);
		int rc;

		rc = settings_runtime_set("bt/dis/fw", ver, vlen);
		if (rc) {
			LOG_WRN("DIS: failed to set FW revision (err %d)", rc);
		}
		rc = settings_runtime_set("bt/dis/sw", ver, vlen);
		if (rc) {
			LOG_WRN("DIS: failed to set SW revision (err %d)", rc);
		}
		LOG_INF("DIS: FW/SW revision = %s", ver);
	}
#endif

	// TODO : Check if otDatasetIsCommissioned. Only start Thread IF already commissioned (avoid automatic commissioning after reset)
	// to decommission without reset/reboot, set something in dataset invalid/clear name/key ?
	if (otDatasetIsCommissioned( openthread_get_default_instance() ) == true) {
		LOG_INF("Thread already commissioned\n");
		enable_thread();
		LOG_INF("Thread enabled\n");
		init_srp();				
		LOG_INF("SRP client enabled\n");
		display_updateOTConnectionStatus("+SRP");
		/* loki_coap_init() and the explicit long-name register_coap_service()
		 * below both talk to OT APIs (otCoap*, otSrpClient*) from the main
		 * thread, so wrap them in the OT API mutex. enable_thread / init_srp /
		 * register_dcc_service take the mutex themselves; the recursive
		 * k_mutex makes the nesting safe. */
		openthread_mutex_lock();
		if (loki_coap_init(
			change_speed_directly,
			speed_set_acceleration,
			change_direction,
			stop_motor,
			modify_full_name,
			ble_lifecycle_force_recovery
			) != 0) {
				LOG_ERR("CoAP init failed\n");
			} else {
				display_updateOTConnectionStatus("+S+CoAP");
				LOG_INF("CoAP initialized\n");
				/* short_name is already registered by init_srp() above —
				 * we only need to add the long-name service here. The
				 * boot path used to re-register short_name too, but that
				 * was a vestige of the per-TU duplicate bug (TODO/01 §1.6/§1.7). */
				if (long_name_coap_service != NULL) {
					LOG_INF("Service %s already registered as %s, freeing first", SRP_LONGNAME_SERVICE, full_name);
					otSrpClientBuffersFreeService(openthread_get_default_instance(), long_name_coap_service);
					long_name_coap_service = NULL;
				}
				long_name_coap_service = register_coap_service(
					openthread_get_default_instance(), full_name, SRP_LONGNAME_SERVICE);
				if (long_name_coap_service == NULL) {
					LOG_ERR("Failed to register long-name SRP service");
					/* Keep BLE up so the loco is reachable while SRP
					 * can't take the long-name registration. Gated by
					 * CONFIG_LOKI_BLE_RECOVERY_ON_SRP_FAIL. */
					ble_lifecycle_recover_on_srp_failure();
				}
			}
		openthread_mutex_unlock();
		/* Boot path: dcc_address was loaded from NVM by load_settings_from_nvm().
		 * The helper handles the "unset" (0) case and frees stale entries. */
		register_dcc_service();

	} else {
		LOG_INF("Thread not commissioned\n");
	}
	LOG_INF("Starting BLE\n");
	//settings_load_subtree("bt");

//	settings_load_subtree("bt");
//	settings_load_subtree("loki");
	updateBleShortName(ble_name);	
	updateBleLongName(full_name);

	display_updateName(ble_name);
	/*err = bt_ready();
	#if (err) {
		LOG_ERR("Bluetooth setup failed (err %d)\n", err);
		return -4;
	}*/
	/*   From DevZone:
		 Calling `bt_le_adv_update_data()` consumed the remaining stack of the calling thread. Putting it in a workqueue gave it a separate stack, and that solved the issue. Increasing the stack size of the calling thread also solved it. 
	*/
	bt_register();	
	bt_submit_start_advertising_work();

	display_updateBTConnectionStatus("up");

	return 0;

}
```

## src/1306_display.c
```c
#include "main_display.h"

#ifndef CONFIG_LVGL
#error "LVGL is not enabled in the configuration"
#endif
// Start Display related includes
#include <zephyr/device.h>
#include <zephyr/devicetree.h>
#include <zephyr/drivers/display.h>
#include <zephyr/drivers/gpio.h>
#include <lvgl.h>
#include <stdio.h>
#include <string.h>


// Define global labels for each line of the display
static lv_obj_t* connection_status_label;
static lv_obj_t* direction_speed_label;
static lv_obj_t* name_label;
static lv_obj_t* ipv6_address_label;

// Initialize the display (to be called once before using the update functions)
void initDisplay() {
    // Initialize the LVGL library
    lv_init();
    lvgl_input_device_init(); // Initialize the input device for LVGL

    // Initialize the display driver (assuming a Zephyr-based display)
    const struct device* display_dev = DEVICE_DT_GET(DT_CHOSEN(zephyr_display));
    if (!device_is_ready(display_dev)) {
        printk("Display device not ready\n");
        return;
    }

    // Initialize the display
    display_blanking_off(display_dev);
    lv_task_handler();

    lv_obj_t* scr = lv_scr_act();

    // Create and position labels for each line
    connection_status_label = lv_label_create(scr);
    lv_obj_set_style_text_font(connection_status_label, &lv_font_unscii_8, 0);
    lv_obj_align(connection_status_label, LV_ALIGN_TOP_LEFT, 0, 0); // Top line

    direction_speed_label = lv_label_create(scr);
    lv_obj_set_style_text_font(direction_speed_label, &lv_font_unscii_8, 0);
    lv_obj_align(direction_speed_label, LV_ALIGN_TOP_LEFT, 0, 10); // Second line

    name_label = lv_label_create(scr);
    lv_obj_set_style_text_font(name_label, &lv_font_unscii_8, 0);
    lv_obj_align(name_label, LV_ALIGN_TOP_LEFT, 0, 20); // Third line

    ipv6_address_label = lv_label_create(scr);
    lv_obj_set_style_text_font(ipv6_address_label, &lv_font_unscii_8, 0);
    lv_obj_align(ipv6_address_label, LV_ALIGN_TOP_LEFT, 0, 30); // Fourth line
}

// Updates the display with the current connection status
void updateConnectionStatus(const char* status) {
    static char buffer[256];
    snprintf(buffer, sizeof(buffer), "Connection Status: %s", status);
    lv_label_set_text(connection_status_label, buffer);
    lv_task_handler(); // Refresh the display
}

// Updates the display with the current direction and speed
void updateDirectionAndSpeed(const char* direction, float speed) {
    static char buffer[256];
    snprintf(buffer, sizeof(buffer), "Direction: %s, Speed: %.2f", direction, speed);
    lv_label_set_text(direction_speed_label, buffer);
    lv_task_handler(); // Refresh the display
}

// Updates the display with the current name
void updateName(const char* name) {
    static char buffer[256];
    snprintf(buffer, sizeof(buffer), "Name: %s", name);
    lv_label_set_text(name_label, buffer);
    lv_task_handler(); // Refresh the display
}

// Updates the display with the current IPv6 address
void updateIPv6Address(const char* ipv6Address) {
    static char buffer[256];
    snprintf(buffer, sizeof(buffer), "IPv6 Address: %s", ipv6Address);
    lv_label_set_text(ipv6_address_label, buffer);
    lv_task_handler(); // Refresh the display
}
```

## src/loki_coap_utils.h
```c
/*
 * Copyright (c) 2020 Nordic Semiconductor ASA
 *
 * SPDX-License-Identifier: LicenseRef-Nordic-5-Clause
 */

#ifndef LOKI_COAP_UTILS_H_
#define LOKI_COAP_UTILS_H_

#include <loki_server_client_interface.h>

/**@brief Type definition of the function used to handle light resource change.
 */
typedef void (*speed_request_callback_t)(uint8_t cmd);
typedef void (*accel_request_callback_t)(int8_t cmd);
typedef void (*name_set_request_callback_t)(const char *buf, uint16_t len);
typedef void (*stop_request_t)();
typedef void (*ble_recovery_request_callback_t)(void);

int loki_coap_init(
		speed_request_callback_t on_speed_request,
		accel_request_callback_t on_acceleration_request,
		speed_request_callback_t on_direction_request,
		stop_request_t on_stop_request,
		name_set_request_callback_t on_name_request,
		ble_recovery_request_callback_t on_ble_recovery_request);





#endif /* LOKI_COAP_UTILS_H_ */
```

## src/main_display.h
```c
#ifndef MAIN_DISPLAY_H
#define MAIN_DISPLAY_H

// Updates the display with the current connection status
void updateConnectionStatus(const char* status);

// Updates the display with the current direction and speed
void updateDirectionAndSpeed(const char* direction, float speed);

// Updates the display with the current name
void updateName(const char* name);

// Updates the display with the current IPv6 address
void updateIPv6Address(const char* ipv6Address);

#endif // MAIN_DISPLAY_H
```

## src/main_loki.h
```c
#ifndef MAIN_LOKI_H
#define MAIN_LOKI_H
#include <zephyr/kernel.h>
#include <stdint.h>

#include <openthread/message.h>
#include <openthread/nat64.h>
#include <openthread/udp.h>
#include <openthread/config.h>

#define NANO_PER_SECOND 1000000000
#define SPEED_STEPS 255

extern uint16_t pwm_base;
extern uint16_t pwm_period;
extern uint16_t pwm_pulse;
extern uint8_t speed_value;
extern int8_t accel_order;
extern uint16_t dcc_address;
extern uint8_t direction_pattern;
extern uint8_t speed_notify_enabled;

#define MAX_NAME_LENGTH 255



 void change_pwm_base(uint16_t new_base);
 void change_speed_directly(uint8_t new_state);
 void speed_set_acceleration(int8_t new_state);
void notify_motion_change();
int loki_motor_init(void);
void re_apply_acceleration(struct k_timer *timer_id);
void apply_current_acceleration();
void change_direction(uint8_t new_pattern);

/* Set the loco's DCC address, persist it to NVM, and re-register the SRP/Loconet
 * service so DNS-SD discovery and the UDP listener track the new value.
 * Safe to call from BLE writes or CoAP handlers. */
void apply_dcc_address(uint16_t new_dcc);

/* Build/refresh the SRP service registration for the current dcc_address and
 * rebind the Loconet UDP listener. Idempotent. Called from main() at boot
 * (after settings have been loaded) and internally from apply_dcc_address(). */
void register_dcc_service(void);

void on_udp_loconet_receive(void *aContext, otMessage *aMessage, const otMessageInfo *aMessageInfo);


#endif /* MAIN_LOKI_H */
```
